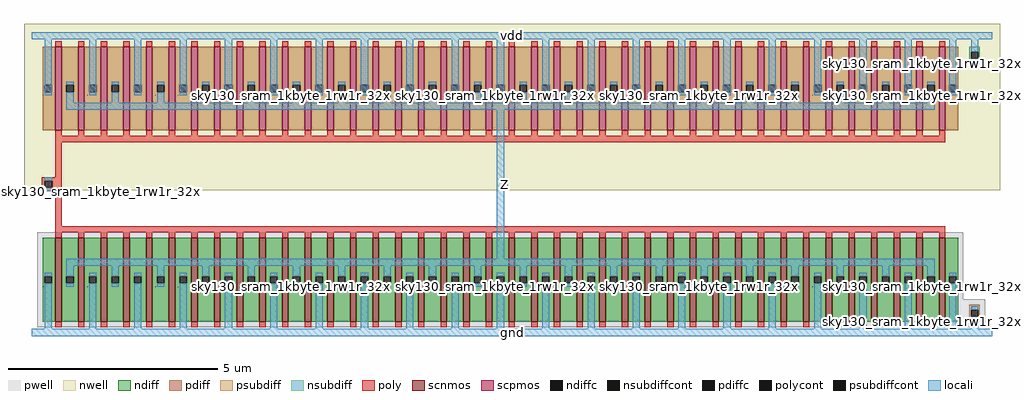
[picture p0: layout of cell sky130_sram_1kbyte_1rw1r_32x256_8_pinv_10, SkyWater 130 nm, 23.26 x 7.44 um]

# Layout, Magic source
magic
tech sky130A
magscale 1 2
<< nwell >>
rect -36 679 4616 1471
<< pwell >>
rect 4444 25 4546 159
<< psubdiff >>
rect 4470 109 4520 133
rect 4470 75 4478 109
rect 4512 75 4520 109
rect 4470 51 4520 75
<< nsubdiff >>
rect 4470 1339 4520 1363
rect 4470 1305 4478 1339
rect 4512 1305 4520 1339
rect 4470 1281 4520 1305
<< psubdiffcont >>
rect 4478 75 4512 109
<< nsubdiffcont >>
rect 4478 1305 4512 1339
<< poly >>
rect 114 740 144 907
rect 48 724 144 740
rect 48 690 64 724
rect 98 690 144 724
rect 48 674 144 690
rect 114 507 144 674
<< polycont >>
rect 64 690 98 724
<< locali >>
rect 0 1397 4580 1431
rect 62 1130 96 1397
rect 274 1130 308 1397
rect 490 1130 524 1397
rect 706 1130 740 1397
rect 922 1130 956 1397
rect 1138 1130 1172 1397
rect 1354 1130 1388 1397
rect 1570 1130 1604 1397
rect 1786 1130 1820 1397
rect 2002 1130 2036 1397
rect 2218 1130 2252 1397
rect 2434 1130 2468 1397
rect 2650 1130 2684 1397
rect 2866 1130 2900 1397
rect 3082 1130 3116 1397
rect 3298 1130 3332 1397
rect 3514 1130 3548 1397
rect 3730 1130 3764 1397
rect 3946 1130 3980 1397
rect 4162 1130 4196 1397
rect 4374 1130 4408 1397
rect 4478 1339 4512 1397
rect 4478 1289 4512 1305
rect 64 724 98 740
rect 64 674 98 690
rect 2218 724 2252 1096
rect 2218 690 2269 724
rect 2218 318 2252 690
rect 62 17 96 218
rect 274 17 308 218
rect 490 17 524 218
rect 706 17 740 218
rect 922 17 956 218
rect 1138 17 1172 218
rect 1354 17 1388 218
rect 1570 17 1604 218
rect 1786 17 1820 218
rect 2002 17 2036 218
rect 2218 17 2252 218
rect 2434 17 2468 218
rect 2650 17 2684 218
rect 2866 17 2900 218
rect 3082 17 3116 218
rect 3298 17 3332 218
rect 3514 17 3548 218
rect 3730 17 3764 218
rect 3946 17 3980 218
rect 4162 17 4196 218
rect 4374 17 4408 218
rect 4478 109 4512 125
rect 4478 17 4512 75
rect 0 -17 4580 17
use sky130_sram_1kbyte_1rw1r_32x256_8_contact_16  sky130_sram_1kbyte_1rw1r_32x256_8_contact_16_0
transform 1 0 48 0 1 674
box 0 0 1 1
use sky130_sram_1kbyte_1rw1r_32x256_8_contact_29  sky130_sram_1kbyte_1rw1r_32x256_8_contact_29_0
transform 1 0 4470 0 1 51
box 0 0 1 1
use sky130_sram_1kbyte_1rw1r_32x256_8_contact_28  sky130_sram_1kbyte_1rw1r_32x256_8_contact_28_0
transform 1 0 4470 0 1 1281
box 0 0 1 1
use sky130_sram_1kbyte_1rw1r_32x256_8_nmos_m40_w2_000_sli_dli_da_p  sky130_sram_1kbyte_1rw1r_32x256_8_nmos_m40_w2_000_sli_dli_da_p_0
transform 1 0 54 0 1 51
box -26 -26 4388 456
use sky130_sram_1kbyte_1rw1r_32x256_8_pmos_m40_w2_000_sli_dli_da_p  sky130_sram_1kbyte_1rw1r_32x256_8_pmos_m40_w2_000_sli_dli_da_p_0
transform 1 0 54 0 1 963
box -59 -56 4421 454
<< labels >>
rlabel locali s 81 707 81 707 4 A
port 1 nsew
rlabel locali s 2252 707 2252 707 4 Z
port 2 nsew
rlabel locali s 2290 0 2290 0 4 gnd
port 3 nsew
rlabel locali s 2290 1414 2290 1414 4 vdd
port 4 nsew
<< properties >>
string FIXED_BBOX 0 0 4580 1414
string GDS_FILE $PDKPATH/libs.ref/sky130_sram_macros/gds/sky130_sram_1kbyte_1rw1r_32x256_8.gds
string GDS_END 379994
string GDS_START 375564
<< end >>

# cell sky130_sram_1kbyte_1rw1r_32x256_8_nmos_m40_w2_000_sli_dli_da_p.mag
magic
tech sky130A
magscale 1 2
<< pwell >>
rect -26 -26 4388 426
<< scnmos >>
rect 60 0 90 400
rect 168 0 198 400
rect 276 0 306 400
rect 384 0 414 400
rect 492 0 522 400
rect 600 0 630 400
rect 708 0 738 400
rect 816 0 846 400
rect 924 0 954 400
rect 1032 0 1062 400
rect 1140 0 1170 400
rect 1248 0 1278 400
rect 1356 0 1386 400
rect 1464 0 1494 400
rect 1572 0 1602 400
rect 1680 0 1710 400
rect 1788 0 1818 400
rect 1896 0 1926 400
rect 2004 0 2034 400
rect 2112 0 2142 400
rect 2220 0 2250 400
rect 2328 0 2358 400
rect 2436 0 2466 400
rect 2544 0 2574 400
rect 2652 0 2682 400
rect 2760 0 2790 400
rect 2868 0 2898 400
rect 2976 0 3006 400
rect 3084 0 3114 400
rect 3192 0 3222 400
rect 3300 0 3330 400
rect 3408 0 3438 400
rect 3516 0 3546 400
rect 3624 0 3654 400
rect 3732 0 3762 400
rect 3840 0 3870 400
rect 3948 0 3978 400
rect 4056 0 4086 400
rect 4164 0 4194 400
rect 4272 0 4302 400
<< ndiff >>
rect 0 217 60 400
rect 0 183 8 217
rect 42 183 60 217
rect 0 0 60 183
rect 90 217 168 400
rect 90 183 112 217
rect 146 183 168 217
rect 90 0 168 183
rect 198 217 276 400
rect 198 183 220 217
rect 254 183 276 217
rect 198 0 276 183
rect 306 217 384 400
rect 306 183 328 217
rect 362 183 384 217
rect 306 0 384 183
rect 414 217 492 400
rect 414 183 436 217
rect 470 183 492 217
rect 414 0 492 183
rect 522 217 600 400
rect 522 183 544 217
rect 578 183 600 217
rect 522 0 600 183
rect 630 217 708 400
rect 630 183 652 217
rect 686 183 708 217
rect 630 0 708 183
rect 738 217 816 400
rect 738 183 760 217
rect 794 183 816 217
rect 738 0 816 183
rect 846 217 924 400
rect 846 183 868 217
rect 902 183 924 217
rect 846 0 924 183
rect 954 217 1032 400
rect 954 183 976 217
rect 1010 183 1032 217
rect 954 0 1032 183
rect 1062 217 1140 400
rect 1062 183 1084 217
rect 1118 183 1140 217
rect 1062 0 1140 183
rect 1170 217 1248 400
rect 1170 183 1192 217
rect 1226 183 1248 217
rect 1170 0 1248 183
rect 1278 217 1356 400
rect 1278 183 1300 217
rect 1334 183 1356 217
rect 1278 0 1356 183
rect 1386 217 1464 400
rect 1386 183 1408 217
rect 1442 183 1464 217
rect 1386 0 1464 183
rect 1494 217 1572 400
rect 1494 183 1516 217
rect 1550 183 1572 217
rect 1494 0 1572 183
rect 1602 217 1680 400
rect 1602 183 1624 217
rect 1658 183 1680 217
rect 1602 0 1680 183
rect 1710 217 1788 400
rect 1710 183 1732 217
rect 1766 183 1788 217
rect 1710 0 1788 183
rect 1818 217 1896 400
rect 1818 183 1840 217
rect 1874 183 1896 217
rect 1818 0 1896 183
rect 1926 217 2004 400
rect 1926 183 1948 217
rect 1982 183 2004 217
rect 1926 0 2004 183
rect 2034 217 2112 400
rect 2034 183 2056 217
rect 2090 183 2112 217
rect 2034 0 2112 183
rect 2142 217 2220 400
rect 2142 183 2164 217
rect 2198 183 2220 217
rect 2142 0 2220 183
rect 2250 217 2328 400
rect 2250 183 2272 217
rect 2306 183 2328 217
rect 2250 0 2328 183
rect 2358 217 2436 400
rect 2358 183 2380 217
rect 2414 183 2436 217
rect 2358 0 2436 183
rect 2466 217 2544 400
rect 2466 183 2488 217
rect 2522 183 2544 217
rect 2466 0 2544 183
rect 2574 217 2652 400
rect 2574 183 2596 217
rect 2630 183 2652 217
rect 2574 0 2652 183
rect 2682 217 2760 400
rect 2682 183 2704 217
rect 2738 183 2760 217
rect 2682 0 2760 183
rect 2790 217 2868 400
rect 2790 183 2812 217
rect 2846 183 2868 217
rect 2790 0 2868 183
rect 2898 217 2976 400
rect 2898 183 2920 217
rect 2954 183 2976 217
rect 2898 0 2976 183
rect 3006 217 3084 400
rect 3006 183 3028 217
rect 3062 183 3084 217
rect 3006 0 3084 183
rect 3114 217 3192 400
rect 3114 183 3136 217
rect 3170 183 3192 217
rect 3114 0 3192 183
rect 3222 217 3300 400
rect 3222 183 3244 217
rect 3278 183 3300 217
rect 3222 0 3300 183
rect 3330 217 3408 400
rect 3330 183 3352 217
rect 3386 183 3408 217
rect 3330 0 3408 183
rect 3438 217 3516 400
rect 3438 183 3460 217
rect 3494 183 3516 217
rect 3438 0 3516 183
rect 3546 217 3624 400
rect 3546 183 3568 217
rect 3602 183 3624 217
rect 3546 0 3624 183
rect 3654 217 3732 400
rect 3654 183 3676 217
rect 3710 183 3732 217
rect 3654 0 3732 183
rect 3762 217 3840 400
rect 3762 183 3784 217
rect 3818 183 3840 217
rect 3762 0 3840 183
rect 3870 217 3948 400
rect 3870 183 3892 217
rect 3926 183 3948 217
rect 3870 0 3948 183
rect 3978 217 4056 400
rect 3978 183 4000 217
rect 4034 183 4056 217
rect 3978 0 4056 183
rect 4086 217 4164 400
rect 4086 183 4108 217
rect 4142 183 4164 217
rect 4086 0 4164 183
rect 4194 217 4272 400
rect 4194 183 4216 217
rect 4250 183 4272 217
rect 4194 0 4272 183
rect 4302 217 4362 400
rect 4302 183 4320 217
rect 4354 183 4362 217
rect 4302 0 4362 183
<< ndiffc >>
rect 8 183 42 217
rect 112 183 146 217
rect 220 183 254 217
rect 328 183 362 217
rect 436 183 470 217
rect 544 183 578 217
rect 652 183 686 217
rect 760 183 794 217
rect 868 183 902 217
rect 976 183 1010 217
rect 1084 183 1118 217
rect 1192 183 1226 217
rect 1300 183 1334 217
rect 1408 183 1442 217
rect 1516 183 1550 217
rect 1624 183 1658 217
rect 1732 183 1766 217
rect 1840 183 1874 217
rect 1948 183 1982 217
rect 2056 183 2090 217
rect 2164 183 2198 217
rect 2272 183 2306 217
rect 2380 183 2414 217
rect 2488 183 2522 217
rect 2596 183 2630 217
rect 2704 183 2738 217
rect 2812 183 2846 217
rect 2920 183 2954 217
rect 3028 183 3062 217
rect 3136 183 3170 217
rect 3244 183 3278 217
rect 3352 183 3386 217
rect 3460 183 3494 217
rect 3568 183 3602 217
rect 3676 183 3710 217
rect 3784 183 3818 217
rect 3892 183 3926 217
rect 4000 183 4034 217
rect 4108 183 4142 217
rect 4216 183 4250 217
rect 4320 183 4354 217
<< poly >>
rect 60 426 4302 456
rect 60 400 90 426
rect 168 400 198 426
rect 276 400 306 426
rect 384 400 414 426
rect 492 400 522 426
rect 600 400 630 426
rect 708 400 738 426
rect 816 400 846 426
rect 924 400 954 426
rect 1032 400 1062 426
rect 1140 400 1170 426
rect 1248 400 1278 426
rect 1356 400 1386 426
rect 1464 400 1494 426
rect 1572 400 1602 426
rect 1680 400 1710 426
rect 1788 400 1818 426
rect 1896 400 1926 426
rect 2004 400 2034 426
rect 2112 400 2142 426
rect 2220 400 2250 426
rect 2328 400 2358 426
rect 2436 400 2466 426
rect 2544 400 2574 426
rect 2652 400 2682 426
rect 2760 400 2790 426
rect 2868 400 2898 426
rect 2976 400 3006 426
rect 3084 400 3114 426
rect 3192 400 3222 426
rect 3300 400 3330 426
rect 3408 400 3438 426
rect 3516 400 3546 426
rect 3624 400 3654 426
rect 3732 400 3762 426
rect 3840 400 3870 426
rect 3948 400 3978 426
rect 4056 400 4086 426
rect 4164 400 4194 426
rect 4272 400 4302 426
rect 60 -26 90 0
rect 168 -26 198 0
rect 276 -26 306 0
rect 384 -26 414 0
rect 492 -26 522 0
rect 600 -26 630 0
rect 708 -26 738 0
rect 816 -26 846 0
rect 924 -26 954 0
rect 1032 -26 1062 0
rect 1140 -26 1170 0
rect 1248 -26 1278 0
rect 1356 -26 1386 0
rect 1464 -26 1494 0
rect 1572 -26 1602 0
rect 1680 -26 1710 0
rect 1788 -26 1818 0
rect 1896 -26 1926 0
rect 2004 -26 2034 0
rect 2112 -26 2142 0
rect 2220 -26 2250 0
rect 2328 -26 2358 0
rect 2436 -26 2466 0
rect 2544 -26 2574 0
rect 2652 -26 2682 0
rect 2760 -26 2790 0
rect 2868 -26 2898 0
rect 2976 -26 3006 0
rect 3084 -26 3114 0
rect 3192 -26 3222 0
rect 3300 -26 3330 0
rect 3408 -26 3438 0
rect 3516 -26 3546 0
rect 3624 -26 3654 0
rect 3732 -26 3762 0
rect 3840 -26 3870 0
rect 3948 -26 3978 0
rect 4056 -26 4086 0
rect 4164 -26 4194 0
rect 4272 -26 4302 0
<< locali >>
rect 112 267 4250 301
rect 8 217 42 233
rect 8 167 42 183
rect 112 217 146 267
rect 112 167 146 183
rect 220 217 254 233
rect 220 167 254 183
rect 328 217 362 267
rect 328 167 362 183
rect 436 217 470 233
rect 436 167 470 183
rect 544 217 578 267
rect 544 167 578 183
rect 652 217 686 233
rect 652 167 686 183
rect 760 217 794 267
rect 760 167 794 183
rect 868 217 902 233
rect 868 167 902 183
rect 976 217 1010 267
rect 976 167 1010 183
rect 1084 217 1118 233
rect 1084 167 1118 183
rect 1192 217 1226 267
rect 1192 167 1226 183
rect 1300 217 1334 233
rect 1300 167 1334 183
rect 1408 217 1442 267
rect 1408 167 1442 183
rect 1516 217 1550 233
rect 1516 167 1550 183
rect 1624 217 1658 267
rect 1624 167 1658 183
rect 1732 217 1766 233
rect 1732 167 1766 183
rect 1840 217 1874 267
rect 1840 167 1874 183
rect 1948 217 1982 233
rect 1948 167 1982 183
rect 2056 217 2090 267
rect 2056 167 2090 183
rect 2164 217 2198 233
rect 2164 167 2198 183
rect 2272 217 2306 267
rect 2272 167 2306 183
rect 2380 217 2414 233
rect 2380 167 2414 183
rect 2488 217 2522 267
rect 2488 167 2522 183
rect 2596 217 2630 233
rect 2596 167 2630 183
rect 2704 217 2738 267
rect 2704 167 2738 183
rect 2812 217 2846 233
rect 2812 167 2846 183
rect 2920 217 2954 267
rect 2920 167 2954 183
rect 3028 217 3062 233
rect 3028 167 3062 183
rect 3136 217 3170 267
rect 3136 167 3170 183
rect 3244 217 3278 233
rect 3244 167 3278 183
rect 3352 217 3386 267
rect 3352 167 3386 183
rect 3460 217 3494 233
rect 3460 167 3494 183
rect 3568 217 3602 267
rect 3568 167 3602 183
rect 3676 217 3710 233
rect 3676 167 3710 183
rect 3784 217 3818 267
rect 3784 167 3818 183
rect 3892 217 3926 233
rect 3892 167 3926 183
rect 4000 217 4034 267
rect 4000 167 4034 183
rect 4108 217 4142 233
rect 4108 167 4142 183
rect 4216 217 4250 267
rect 4216 167 4250 183
rect 4320 217 4354 233
rect 4320 167 4354 183
use sky130_sram_1kbyte_1rw1r_32x256_8_contact_11  sky130_sram_1kbyte_1rw1r_32x256_8_contact_11_0
transform 1 0 4312 0 1 167
box 0 0 1 1
use sky130_sram_1kbyte_1rw1r_32x256_8_contact_11  sky130_sram_1kbyte_1rw1r_32x256_8_contact_11_1
transform 1 0 4208 0 1 167
box 0 0 1 1
use sky130_sram_1kbyte_1rw1r_32x256_8_contact_11  sky130_sram_1kbyte_1rw1r_32x256_8_contact_11_2
transform 1 0 4100 0 1 167
box 0 0 1 1
use sky130_sram_1kbyte_1rw1r_32x256_8_contact_11  sky130_sram_1kbyte_1rw1r_32x256_8_contact_11_3
transform 1 0 3992 0 1 167
box 0 0 1 1
use sky130_sram_1kbyte_1rw1r_32x256_8_contact_11  sky130_sram_1kbyte_1rw1r_32x256_8_contact_11_4
transform 1 0 3884 0 1 167
box 0 0 1 1
use sky130_sram_1kbyte_1rw1r_32x256_8_contact_11  sky130_sram_1kbyte_1rw1r_32x256_8_contact_11_5
transform 1 0 3776 0 1 167
box 0 0 1 1
use sky130_sram_1kbyte_1rw1r_32x256_8_contact_11  sky130_sram_1kbyte_1rw1r_32x256_8_contact_11_6
transform 1 0 3668 0 1 167
box 0 0 1 1
use sky130_sram_1kbyte_1rw1r_32x256_8_contact_11  sky130_sram_1kbyte_1rw1r_32x256_8_contact_11_7
transform 1 0 3560 0 1 167
box 0 0 1 1
use sky130_sram_1kbyte_1rw1r_32x256_8_contact_11  sky130_sram_1kbyte_1rw1r_32x256_8_contact_11_8
transform 1 0 3452 0 1 167
box 0 0 1 1
use sky130_sram_1kbyte_1rw1r_32x256_8_contact_11  sky130_sram_1kbyte_1rw1r_32x256_8_contact_11_9
transform 1 0 3344 0 1 167
box 0 0 1 1
use sky130_sram_1kbyte_1rw1r_32x256_8_contact_11  sky130_sram_1kbyte_1rw1r_32x256_8_contact_11_10
transform 1 0 3236 0 1 167
box 0 0 1 1
use sky130_sram_1kbyte_1rw1r_32x256_8_contact_11  sky130_sram_1kbyte_1rw1r_32x256_8_contact_11_11
transform 1 0 3128 0 1 167
box 0 0 1 1
use sky130_sram_1kbyte_1rw1r_32x256_8_contact_11  sky130_sram_1kbyte_1rw1r_32x256_8_contact_11_12
transform 1 0 3020 0 1 167
box 0 0 1 1
use sky130_sram_1kbyte_1rw1r_32x256_8_contact_11  sky130_sram_1kbyte_1rw1r_32x256_8_contact_11_13
transform 1 0 2912 0 1 167
box 0 0 1 1
use sky130_sram_1kbyte_1rw1r_32x256_8_contact_11  sky130_sram_1kbyte_1rw1r_32x256_8_contact_11_14
transform 1 0 2804 0 1 167
box 0 0 1 1
use sky130_sram_1kbyte_1rw1r_32x256_8_contact_11  sky130_sram_1kbyte_1rw1r_32x256_8_contact_11_15
transform 1 0 2696 0 1 167
box 0 0 1 1
use sky130_sram_1kbyte_1rw1r_32x256_8_contact_11  sky130_sram_1kbyte_1rw1r_32x256_8_contact_11_16
transform 1 0 2588 0 1 167
box 0 0 1 1
use sky130_sram_1kbyte_1rw1r_32x256_8_contact_11  sky130_sram_1kbyte_1rw1r_32x256_8_contact_11_17
transform 1 0 2480 0 1 167
box 0 0 1 1
use sky130_sram_1kbyte_1rw1r_32x256_8_contact_11  sky130_sram_1kbyte_1rw1r_32x256_8_contact_11_18
transform 1 0 2372 0 1 167
box 0 0 1 1
use sky130_sram_1kbyte_1rw1r_32x256_8_contact_11  sky130_sram_1kbyte_1rw1r_32x256_8_contact_11_19
transform 1 0 2264 0 1 167
box 0 0 1 1
use sky130_sram_1kbyte_1rw1r_32x256_8_contact_11  sky130_sram_1kbyte_1rw1r_32x256_8_contact_11_20
transform 1 0 2156 0 1 167
box 0 0 1 1
use sky130_sram_1kbyte_1rw1r_32x256_8_contact_11  sky130_sram_1kbyte_1rw1r_32x256_8_contact_11_21
transform 1 0 2048 0 1 167
box 0 0 1 1
use sky130_sram_1kbyte_1rw1r_32x256_8_contact_11  sky130_sram_1kbyte_1rw1r_32x256_8_contact_11_22
transform 1 0 1940 0 1 167
box 0 0 1 1
use sky130_sram_1kbyte_1rw1r_32x256_8_contact_11  sky130_sram_1kbyte_1rw1r_32x256_8_contact_11_23
transform 1 0 1832 0 1 167
box 0 0 1 1
use sky130_sram_1kbyte_1rw1r_32x256_8_contact_11  sky130_sram_1kbyte_1rw1r_32x256_8_contact_11_24
transform 1 0 1724 0 1 167
box 0 0 1 1
use sky130_sram_1kbyte_1rw1r_32x256_8_contact_11  sky130_sram_1kbyte_1rw1r_32x256_8_contact_11_25
transform 1 0 1616 0 1 167
box 0 0 1 1
use sky130_sram_1kbyte_1rw1r_32x256_8_contact_11  sky130_sram_1kbyte_1rw1r_32x256_8_contact_11_26
transform 1 0 1508 0 1 167
box 0 0 1 1
use sky130_sram_1kbyte_1rw1r_32x256_8_contact_11  sky130_sram_1kbyte_1rw1r_32x256_8_contact_11_27
transform 1 0 1400 0 1 167
box 0 0 1 1
use sky130_sram_1kbyte_1rw1r_32x256_8_contact_11  sky130_sram_1kbyte_1rw1r_32x256_8_contact_11_28
transform 1 0 1292 0 1 167
box 0 0 1 1
use sky130_sram_1kbyte_1rw1r_32x256_8_contact_11  sky130_sram_1kbyte_1rw1r_32x256_8_contact_11_29
transform 1 0 1184 0 1 167
box 0 0 1 1
use sky130_sram_1kbyte_1rw1r_32x256_8_contact_11  sky130_sram_1kbyte_1rw1r_32x256_8_contact_11_30
transform 1 0 1076 0 1 167
box 0 0 1 1
use sky130_sram_1kbyte_1rw1r_32x256_8_contact_11  sky130_sram_1kbyte_1rw1r_32x256_8_contact_11_31
transform 1 0 968 0 1 167
box 0 0 1 1
use sky130_sram_1kbyte_1rw1r_32x256_8_contact_11  sky130_sram_1kbyte_1rw1r_32x256_8_contact_11_32
transform 1 0 860 0 1 167
box 0 0 1 1
use sky130_sram_1kbyte_1rw1r_32x256_8_contact_11  sky130_sram_1kbyte_1rw1r_32x256_8_contact_11_33
transform 1 0 752 0 1 167
box 0 0 1 1
use sky130_sram_1kbyte_1rw1r_32x256_8_contact_11  sky130_sram_1kbyte_1rw1r_32x256_8_contact_11_34
transform 1 0 644 0 1 167
box 0 0 1 1
use sky130_sram_1kbyte_1rw1r_32x256_8_contact_11  sky130_sram_1kbyte_1rw1r_32x256_8_contact_11_35
transform 1 0 536 0 1 167
box 0 0 1 1
use sky130_sram_1kbyte_1rw1r_32x256_8_contact_11  sky130_sram_1kbyte_1rw1r_32x256_8_contact_11_36
transform 1 0 428 0 1 167
box 0 0 1 1
use sky130_sram_1kbyte_1rw1r_32x256_8_contact_11  sky130_sram_1kbyte_1rw1r_32x256_8_contact_11_37
transform 1 0 320 0 1 167
box 0 0 1 1
use sky130_sram_1kbyte_1rw1r_32x256_8_contact_11  sky130_sram_1kbyte_1rw1r_32x256_8_contact_11_38
transform 1 0 212 0 1 167
box 0 0 1 1
use sky130_sram_1kbyte_1rw1r_32x256_8_contact_11  sky130_sram_1kbyte_1rw1r_32x256_8_contact_11_39
transform 1 0 104 0 1 167
box 0 0 1 1
use sky130_sram_1kbyte_1rw1r_32x256_8_contact_11  sky130_sram_1kbyte_1rw1r_32x256_8_contact_11_40
transform 1 0 0 0 1 167
box 0 0 1 1
<< labels >>
rlabel locali s 1533 200 1533 200 4 S
port 1 nsew
rlabel locali s 1317 200 1317 200 4 S
port 1 nsew
rlabel locali s 2181 200 2181 200 4 S
port 1 nsew
rlabel locali s 453 200 453 200 4 S
port 1 nsew
rlabel locali s 2397 200 2397 200 4 S
port 1 nsew
rlabel locali s 4337 200 4337 200 4 S
port 1 nsew
rlabel locali s 3909 200 3909 200 4 S
port 1 nsew
rlabel locali s 25 200 25 200 4 S
port 1 nsew
rlabel locali s 885 200 885 200 4 S
port 1 nsew
rlabel locali s 2613 200 2613 200 4 S
port 1 nsew
rlabel locali s 237 200 237 200 4 S
port 1 nsew
rlabel locali s 1101 200 1101 200 4 S
port 1 nsew
rlabel locali s 3045 200 3045 200 4 S
port 1 nsew
rlabel locali s 1749 200 1749 200 4 S
port 1 nsew
rlabel locali s 4125 200 4125 200 4 S
port 1 nsew
rlabel locali s 3261 200 3261 200 4 S
port 1 nsew
rlabel locali s 2829 200 2829 200 4 S
port 1 nsew
rlabel locali s 3477 200 3477 200 4 S
port 1 nsew
rlabel locali s 1965 200 1965 200 4 S
port 1 nsew
rlabel locali s 3693 200 3693 200 4 S
port 1 nsew
rlabel locali s 669 200 669 200 4 S
port 1 nsew
rlabel locali s 2181 284 2181 284 4 D
port 2 nsew
rlabel poly s 2181 441 2181 441 4 G
port 3 nsew
<< properties >>
string FIXED_BBOX -25 -26 4387 456
string GDS_FILE $PDKPATH/libs.ref/sky130_sram_macros/gds/sky130_sram_1kbyte_1rw1r_32x256_8.gds
string GDS_END 137060
string GDS_START 127442
<< end >>

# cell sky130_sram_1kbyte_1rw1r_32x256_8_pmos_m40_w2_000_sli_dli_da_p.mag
magic
tech sky130A
magscale 1 2
<< nwell >>
rect -54 284 4416 454
rect -59 116 4421 284
rect -54 -54 4416 116
<< scpmos >>
rect 60 0 90 400
rect 168 0 198 400
rect 276 0 306 400
rect 384 0 414 400
rect 492 0 522 400
rect 600 0 630 400
rect 708 0 738 400
rect 816 0 846 400
rect 924 0 954 400
rect 1032 0 1062 400
rect 1140 0 1170 400
rect 1248 0 1278 400
rect 1356 0 1386 400
rect 1464 0 1494 400
rect 1572 0 1602 400
rect 1680 0 1710 400
rect 1788 0 1818 400
rect 1896 0 1926 400
rect 2004 0 2034 400
rect 2112 0 2142 400
rect 2220 0 2250 400
rect 2328 0 2358 400
rect 2436 0 2466 400
rect 2544 0 2574 400
rect 2652 0 2682 400
rect 2760 0 2790 400
rect 2868 0 2898 400
rect 2976 0 3006 400
rect 3084 0 3114 400
rect 3192 0 3222 400
rect 3300 0 3330 400
rect 3408 0 3438 400
rect 3516 0 3546 400
rect 3624 0 3654 400
rect 3732 0 3762 400
rect 3840 0 3870 400
rect 3948 0 3978 400
rect 4056 0 4086 400
rect 4164 0 4194 400
rect 4272 0 4302 400
<< pdiff >>
rect 0 217 60 400
rect 0 183 8 217
rect 42 183 60 217
rect 0 0 60 183
rect 90 217 168 400
rect 90 183 112 217
rect 146 183 168 217
rect 90 0 168 183
rect 198 217 276 400
rect 198 183 220 217
rect 254 183 276 217
rect 198 0 276 183
rect 306 217 384 400
rect 306 183 328 217
rect 362 183 384 217
rect 306 0 384 183
rect 414 217 492 400
rect 414 183 436 217
rect 470 183 492 217
rect 414 0 492 183
rect 522 217 600 400
rect 522 183 544 217
rect 578 183 600 217
rect 522 0 600 183
rect 630 217 708 400
rect 630 183 652 217
rect 686 183 708 217
rect 630 0 708 183
rect 738 217 816 400
rect 738 183 760 217
rect 794 183 816 217
rect 738 0 816 183
rect 846 217 924 400
rect 846 183 868 217
rect 902 183 924 217
rect 846 0 924 183
rect 954 217 1032 400
rect 954 183 976 217
rect 1010 183 1032 217
rect 954 0 1032 183
rect 1062 217 1140 400
rect 1062 183 1084 217
rect 1118 183 1140 217
rect 1062 0 1140 183
rect 1170 217 1248 400
rect 1170 183 1192 217
rect 1226 183 1248 217
rect 1170 0 1248 183
rect 1278 217 1356 400
rect 1278 183 1300 217
rect 1334 183 1356 217
rect 1278 0 1356 183
rect 1386 217 1464 400
rect 1386 183 1408 217
rect 1442 183 1464 217
rect 1386 0 1464 183
rect 1494 217 1572 400
rect 1494 183 1516 217
rect 1550 183 1572 217
rect 1494 0 1572 183
rect 1602 217 1680 400
rect 1602 183 1624 217
rect 1658 183 1680 217
rect 1602 0 1680 183
rect 1710 217 1788 400
rect 1710 183 1732 217
rect 1766 183 1788 217
rect 1710 0 1788 183
rect 1818 217 1896 400
rect 1818 183 1840 217
rect 1874 183 1896 217
rect 1818 0 1896 183
rect 1926 217 2004 400
rect 1926 183 1948 217
rect 1982 183 2004 217
rect 1926 0 2004 183
rect 2034 217 2112 400
rect 2034 183 2056 217
rect 2090 183 2112 217
rect 2034 0 2112 183
rect 2142 217 2220 400
rect 2142 183 2164 217
rect 2198 183 2220 217
rect 2142 0 2220 183
rect 2250 217 2328 400
rect 2250 183 2272 217
rect 2306 183 2328 217
rect 2250 0 2328 183
rect 2358 217 2436 400
rect 2358 183 2380 217
rect 2414 183 2436 217
rect 2358 0 2436 183
rect 2466 217 2544 400
rect 2466 183 2488 217
rect 2522 183 2544 217
rect 2466 0 2544 183
rect 2574 217 2652 400
rect 2574 183 2596 217
rect 2630 183 2652 217
rect 2574 0 2652 183
rect 2682 217 2760 400
rect 2682 183 2704 217
rect 2738 183 2760 217
rect 2682 0 2760 183
rect 2790 217 2868 400
rect 2790 183 2812 217
rect 2846 183 2868 217
rect 2790 0 2868 183
rect 2898 217 2976 400
rect 2898 183 2920 217
rect 2954 183 2976 217
rect 2898 0 2976 183
rect 3006 217 3084 400
rect 3006 183 3028 217
rect 3062 183 3084 217
rect 3006 0 3084 183
rect 3114 217 3192 400
rect 3114 183 3136 217
rect 3170 183 3192 217
rect 3114 0 3192 183
rect 3222 217 3300 400
rect 3222 183 3244 217
rect 3278 183 3300 217
rect 3222 0 3300 183
rect 3330 217 3408 400
rect 3330 183 3352 217
rect 3386 183 3408 217
rect 3330 0 3408 183
rect 3438 217 3516 400
rect 3438 183 3460 217
rect 3494 183 3516 217
rect 3438 0 3516 183
rect 3546 217 3624 400
rect 3546 183 3568 217
rect 3602 183 3624 217
rect 3546 0 3624 183
rect 3654 217 3732 400
rect 3654 183 3676 217
rect 3710 183 3732 217
rect 3654 0 3732 183
rect 3762 217 3840 400
rect 3762 183 3784 217
rect 3818 183 3840 217
rect 3762 0 3840 183
rect 3870 217 3948 400
rect 3870 183 3892 217
rect 3926 183 3948 217
rect 3870 0 3948 183
rect 3978 217 4056 400
rect 3978 183 4000 217
rect 4034 183 4056 217
rect 3978 0 4056 183
rect 4086 217 4164 400
rect 4086 183 4108 217
rect 4142 183 4164 217
rect 4086 0 4164 183
rect 4194 217 4272 400
rect 4194 183 4216 217
rect 4250 183 4272 217
rect 4194 0 4272 183
rect 4302 217 4362 400
rect 4302 183 4320 217
rect 4354 183 4362 217
rect 4302 0 4362 183
<< pdiffc >>
rect 8 183 42 217
rect 112 183 146 217
rect 220 183 254 217
rect 328 183 362 217
rect 436 183 470 217
rect 544 183 578 217
rect 652 183 686 217
rect 760 183 794 217
rect 868 183 902 217
rect 976 183 1010 217
rect 1084 183 1118 217
rect 1192 183 1226 217
rect 1300 183 1334 217
rect 1408 183 1442 217
rect 1516 183 1550 217
rect 1624 183 1658 217
rect 1732 183 1766 217
rect 1840 183 1874 217
rect 1948 183 1982 217
rect 2056 183 2090 217
rect 2164 183 2198 217
rect 2272 183 2306 217
rect 2380 183 2414 217
rect 2488 183 2522 217
rect 2596 183 2630 217
rect 2704 183 2738 217
rect 2812 183 2846 217
rect 2920 183 2954 217
rect 3028 183 3062 217
rect 3136 183 3170 217
rect 3244 183 3278 217
rect 3352 183 3386 217
rect 3460 183 3494 217
rect 3568 183 3602 217
rect 3676 183 3710 217
rect 3784 183 3818 217
rect 3892 183 3926 217
rect 4000 183 4034 217
rect 4108 183 4142 217
rect 4216 183 4250 217
rect 4320 183 4354 217
<< poly >>
rect 60 400 90 426
rect 168 400 198 426
rect 276 400 306 426
rect 384 400 414 426
rect 492 400 522 426
rect 600 400 630 426
rect 708 400 738 426
rect 816 400 846 426
rect 924 400 954 426
rect 1032 400 1062 426
rect 1140 400 1170 426
rect 1248 400 1278 426
rect 1356 400 1386 426
rect 1464 400 1494 426
rect 1572 400 1602 426
rect 1680 400 1710 426
rect 1788 400 1818 426
rect 1896 400 1926 426
rect 2004 400 2034 426
rect 2112 400 2142 426
rect 2220 400 2250 426
rect 2328 400 2358 426
rect 2436 400 2466 426
rect 2544 400 2574 426
rect 2652 400 2682 426
rect 2760 400 2790 426
rect 2868 400 2898 426
rect 2976 400 3006 426
rect 3084 400 3114 426
rect 3192 400 3222 426
rect 3300 400 3330 426
rect 3408 400 3438 426
rect 3516 400 3546 426
rect 3624 400 3654 426
rect 3732 400 3762 426
rect 3840 400 3870 426
rect 3948 400 3978 426
rect 4056 400 4086 426
rect 4164 400 4194 426
rect 4272 400 4302 426
rect 60 -26 90 0
rect 168 -26 198 0
rect 276 -26 306 0
rect 384 -26 414 0
rect 492 -26 522 0
rect 600 -26 630 0
rect 708 -26 738 0
rect 816 -26 846 0
rect 924 -26 954 0
rect 1032 -26 1062 0
rect 1140 -26 1170 0
rect 1248 -26 1278 0
rect 1356 -26 1386 0
rect 1464 -26 1494 0
rect 1572 -26 1602 0
rect 1680 -26 1710 0
rect 1788 -26 1818 0
rect 1896 -26 1926 0
rect 2004 -26 2034 0
rect 2112 -26 2142 0
rect 2220 -26 2250 0
rect 2328 -26 2358 0
rect 2436 -26 2466 0
rect 2544 -26 2574 0
rect 2652 -26 2682 0
rect 2760 -26 2790 0
rect 2868 -26 2898 0
rect 2976 -26 3006 0
rect 3084 -26 3114 0
rect 3192 -26 3222 0
rect 3300 -26 3330 0
rect 3408 -26 3438 0
rect 3516 -26 3546 0
rect 3624 -26 3654 0
rect 3732 -26 3762 0
rect 3840 -26 3870 0
rect 3948 -26 3978 0
rect 4056 -26 4086 0
rect 4164 -26 4194 0
rect 4272 -26 4302 0
rect 60 -56 4302 -26
<< locali >>
rect 8 217 42 233
rect 8 167 42 183
rect 112 217 146 233
rect 112 133 146 183
rect 220 217 254 233
rect 220 167 254 183
rect 328 217 362 233
rect 328 133 362 183
rect 436 217 470 233
rect 436 167 470 183
rect 544 217 578 233
rect 544 133 578 183
rect 652 217 686 233
rect 652 167 686 183
rect 760 217 794 233
rect 760 133 794 183
rect 868 217 902 233
rect 868 167 902 183
rect 976 217 1010 233
rect 976 133 1010 183
rect 1084 217 1118 233
rect 1084 167 1118 183
rect 1192 217 1226 233
rect 1192 133 1226 183
rect 1300 217 1334 233
rect 1300 167 1334 183
rect 1408 217 1442 233
rect 1408 133 1442 183
rect 1516 217 1550 233
rect 1516 167 1550 183
rect 1624 217 1658 233
rect 1624 133 1658 183
rect 1732 217 1766 233
rect 1732 167 1766 183
rect 1840 217 1874 233
rect 1840 133 1874 183
rect 1948 217 1982 233
rect 1948 167 1982 183
rect 2056 217 2090 233
rect 2056 133 2090 183
rect 2164 217 2198 233
rect 2164 167 2198 183
rect 2272 217 2306 233
rect 2272 133 2306 183
rect 2380 217 2414 233
rect 2380 167 2414 183
rect 2488 217 2522 233
rect 2488 133 2522 183
rect 2596 217 2630 233
rect 2596 167 2630 183
rect 2704 217 2738 233
rect 2704 133 2738 183
rect 2812 217 2846 233
rect 2812 167 2846 183
rect 2920 217 2954 233
rect 2920 133 2954 183
rect 3028 217 3062 233
rect 3028 167 3062 183
rect 3136 217 3170 233
rect 3136 133 3170 183
rect 3244 217 3278 233
rect 3244 167 3278 183
rect 3352 217 3386 233
rect 3352 133 3386 183
rect 3460 217 3494 233
rect 3460 167 3494 183
rect 3568 217 3602 233
rect 3568 133 3602 183
rect 3676 217 3710 233
rect 3676 167 3710 183
rect 3784 217 3818 233
rect 3784 133 3818 183
rect 3892 217 3926 233
rect 3892 167 3926 183
rect 4000 217 4034 233
rect 4000 133 4034 183
rect 4108 217 4142 233
rect 4108 167 4142 183
rect 4216 217 4250 233
rect 4216 133 4250 183
rect 4320 217 4354 233
rect 4320 167 4354 183
rect 112 99 4250 133
use sky130_sram_1kbyte_1rw1r_32x256_8_contact_12  sky130_sram_1kbyte_1rw1r_32x256_8_contact_12_0
transform 1 0 4312 0 1 167
box 0 0 1 1
use sky130_sram_1kbyte_1rw1r_32x256_8_contact_12  sky130_sram_1kbyte_1rw1r_32x256_8_contact_12_1
transform 1 0 4208 0 1 167
box 0 0 1 1
use sky130_sram_1kbyte_1rw1r_32x256_8_contact_12  sky130_sram_1kbyte_1rw1r_32x256_8_contact_12_2
transform 1 0 4100 0 1 167
box 0 0 1 1
use sky130_sram_1kbyte_1rw1r_32x256_8_contact_12  sky130_sram_1kbyte_1rw1r_32x256_8_contact_12_3
transform 1 0 3992 0 1 167
box 0 0 1 1
use sky130_sram_1kbyte_1rw1r_32x256_8_contact_12  sky130_sram_1kbyte_1rw1r_32x256_8_contact_12_4
transform 1 0 3884 0 1 167
box 0 0 1 1
use sky130_sram_1kbyte_1rw1r_32x256_8_contact_12  sky130_sram_1kbyte_1rw1r_32x256_8_contact_12_5
transform 1 0 3776 0 1 167
box 0 0 1 1
use sky130_sram_1kbyte_1rw1r_32x256_8_contact_12  sky130_sram_1kbyte_1rw1r_32x256_8_contact_12_6
transform 1 0 3668 0 1 167
box 0 0 1 1
use sky130_sram_1kbyte_1rw1r_32x256_8_contact_12  sky130_sram_1kbyte_1rw1r_32x256_8_contact_12_7
transform 1 0 3560 0 1 167
box 0 0 1 1
use sky130_sram_1kbyte_1rw1r_32x256_8_contact_12  sky130_sram_1kbyte_1rw1r_32x256_8_contact_12_8
transform 1 0 3452 0 1 167
box 0 0 1 1
use sky130_sram_1kbyte_1rw1r_32x256_8_contact_12  sky130_sram_1kbyte_1rw1r_32x256_8_contact_12_9
transform 1 0 3344 0 1 167
box 0 0 1 1
use sky130_sram_1kbyte_1rw1r_32x256_8_contact_12  sky130_sram_1kbyte_1rw1r_32x256_8_contact_12_10
transform 1 0 3236 0 1 167
box 0 0 1 1
use sky130_sram_1kbyte_1rw1r_32x256_8_contact_12  sky130_sram_1kbyte_1rw1r_32x256_8_contact_12_11
transform 1 0 3128 0 1 167
box 0 0 1 1
use sky130_sram_1kbyte_1rw1r_32x256_8_contact_12  sky130_sram_1kbyte_1rw1r_32x256_8_contact_12_12
transform 1 0 3020 0 1 167
box 0 0 1 1
use sky130_sram_1kbyte_1rw1r_32x256_8_contact_12  sky130_sram_1kbyte_1rw1r_32x256_8_contact_12_13
transform 1 0 2912 0 1 167
box 0 0 1 1
use sky130_sram_1kbyte_1rw1r_32x256_8_contact_12  sky130_sram_1kbyte_1rw1r_32x256_8_contact_12_14
transform 1 0 2804 0 1 167
box 0 0 1 1
use sky130_sram_1kbyte_1rw1r_32x256_8_contact_12  sky130_sram_1kbyte_1rw1r_32x256_8_contact_12_15
transform 1 0 2696 0 1 167
box 0 0 1 1
use sky130_sram_1kbyte_1rw1r_32x256_8_contact_12  sky130_sram_1kbyte_1rw1r_32x256_8_contact_12_16
transform 1 0 2588 0 1 167
box 0 0 1 1
use sky130_sram_1kbyte_1rw1r_32x256_8_contact_12  sky130_sram_1kbyte_1rw1r_32x256_8_contact_12_17
transform 1 0 2480 0 1 167
box 0 0 1 1
use sky130_sram_1kbyte_1rw1r_32x256_8_contact_12  sky130_sram_1kbyte_1rw1r_32x256_8_contact_12_18
transform 1 0 2372 0 1 167
box 0 0 1 1
use sky130_sram_1kbyte_1rw1r_32x256_8_contact_12  sky130_sram_1kbyte_1rw1r_32x256_8_contact_12_19
transform 1 0 2264 0 1 167
box 0 0 1 1
use sky130_sram_1kbyte_1rw1r_32x256_8_contact_12  sky130_sram_1kbyte_1rw1r_32x256_8_contact_12_20
transform 1 0 2156 0 1 167
box 0 0 1 1
use sky130_sram_1kbyte_1rw1r_32x256_8_contact_12  sky130_sram_1kbyte_1rw1r_32x256_8_contact_12_21
transform 1 0 2048 0 1 167
box 0 0 1 1
use sky130_sram_1kbyte_1rw1r_32x256_8_contact_12  sky130_sram_1kbyte_1rw1r_32x256_8_contact_12_22
transform 1 0 1940 0 1 167
box 0 0 1 1
use sky130_sram_1kbyte_1rw1r_32x256_8_contact_12  sky130_sram_1kbyte_1rw1r_32x256_8_contact_12_23
transform 1 0 1832 0 1 167
box 0 0 1 1
use sky130_sram_1kbyte_1rw1r_32x256_8_contact_12  sky130_sram_1kbyte_1rw1r_32x256_8_contact_12_24
transform 1 0 1724 0 1 167
box 0 0 1 1
use sky130_sram_1kbyte_1rw1r_32x256_8_contact_12  sky130_sram_1kbyte_1rw1r_32x256_8_contact_12_25
transform 1 0 1616 0 1 167
box 0 0 1 1
use sky130_sram_1kbyte_1rw1r_32x256_8_contact_12  sky130_sram_1kbyte_1rw1r_32x256_8_contact_12_26
transform 1 0 1508 0 1 167
box 0 0 1 1
use sky130_sram_1kbyte_1rw1r_32x256_8_contact_12  sky130_sram_1kbyte_1rw1r_32x256_8_contact_12_27
transform 1 0 1400 0 1 167
box 0 0 1 1
use sky130_sram_1kbyte_1rw1r_32x256_8_contact_12  sky130_sram_1kbyte_1rw1r_32x256_8_contact_12_28
transform 1 0 1292 0 1 167
box 0 0 1 1
use sky130_sram_1kbyte_1rw1r_32x256_8_contact_12  sky130_sram_1kbyte_1rw1r_32x256_8_contact_12_29
transform 1 0 1184 0 1 167
box 0 0 1 1
use sky130_sram_1kbyte_1rw1r_32x256_8_contact_12  sky130_sram_1kbyte_1rw1r_32x256_8_contact_12_30
transform 1 0 1076 0 1 167
box 0 0 1 1
use sky130_sram_1kbyte_1rw1r_32x256_8_contact_12  sky130_sram_1kbyte_1rw1r_32x256_8_contact_12_31
transform 1 0 968 0 1 167
box 0 0 1 1
use sky130_sram_1kbyte_1rw1r_32x256_8_contact_12  sky130_sram_1kbyte_1rw1r_32x256_8_contact_12_32
transform 1 0 860 0 1 167
box 0 0 1 1
use sky130_sram_1kbyte_1rw1r_32x256_8_contact_12  sky130_sram_1kbyte_1rw1r_32x256_8_contact_12_33
transform 1 0 752 0 1 167
box 0 0 1 1
use sky130_sram_1kbyte_1rw1r_32x256_8_contact_12  sky130_sram_1kbyte_1rw1r_32x256_8_contact_12_34
transform 1 0 644 0 1 167
box 0 0 1 1
use sky130_sram_1kbyte_1rw1r_32x256_8_contact_12  sky130_sram_1kbyte_1rw1r_32x256_8_contact_12_35
transform 1 0 536 0 1 167
box 0 0 1 1
use sky130_sram_1kbyte_1rw1r_32x256_8_contact_12  sky130_sram_1kbyte_1rw1r_32x256_8_contact_12_36
transform 1 0 428 0 1 167
box 0 0 1 1
use sky130_sram_1kbyte_1rw1r_32x256_8_contact_12  sky130_sram_1kbyte_1rw1r_32x256_8_contact_12_37
transform 1 0 320 0 1 167
box 0 0 1 1
use sky130_sram_1kbyte_1rw1r_32x256_8_contact_12  sky130_sram_1kbyte_1rw1r_32x256_8_contact_12_38
transform 1 0 212 0 1 167
box 0 0 1 1
use sky130_sram_1kbyte_1rw1r_32x256_8_contact_12  sky130_sram_1kbyte_1rw1r_32x256_8_contact_12_39
transform 1 0 104 0 1 167
box 0 0 1 1
use sky130_sram_1kbyte_1rw1r_32x256_8_contact_12  sky130_sram_1kbyte_1rw1r_32x256_8_contact_12_40
transform 1 0 0 0 1 167
box 0 0 1 1
<< labels >>
rlabel locali s 1533 200 1533 200 4 S
port 1 nsew
rlabel locali s 1317 200 1317 200 4 S
port 1 nsew
rlabel locali s 2181 200 2181 200 4 S
port 1 nsew
rlabel locali s 453 200 453 200 4 S
port 1 nsew
rlabel locali s 2397 200 2397 200 4 S
port 1 nsew
rlabel locali s 4337 200 4337 200 4 S
port 1 nsew
rlabel locali s 3909 200 3909 200 4 S
port 1 nsew
rlabel locali s 25 200 25 200 4 S
port 1 nsew
rlabel locali s 885 200 885 200 4 S
port 1 nsew
rlabel locali s 2613 200 2613 200 4 S
port 1 nsew
rlabel locali s 237 200 237 200 4 S
port 1 nsew
rlabel locali s 1101 200 1101 200 4 S
port 1 nsew
rlabel locali s 3045 200 3045 200 4 S
port 1 nsew
rlabel locali s 1749 200 1749 200 4 S
port 1 nsew
rlabel locali s 4125 200 4125 200 4 S
port 1 nsew
rlabel locali s 3261 200 3261 200 4 S
port 1 nsew
rlabel locali s 2829 200 2829 200 4 S
port 1 nsew
rlabel locali s 3477 200 3477 200 4 S
port 1 nsew
rlabel locali s 1965 200 1965 200 4 S
port 1 nsew
rlabel locali s 3693 200 3693 200 4 S
port 1 nsew
rlabel locali s 669 200 669 200 4 S
port 1 nsew
rlabel locali s 2181 116 2181 116 4 D
port 2 nsew
rlabel poly s 2181 -41 2181 -41 4 G
port 3 nsew
<< properties >>
string FIXED_BBOX -54 -56 4416 116
string GDS_FILE $PDKPATH/libs.ref/sky130_sram_macros/gds/sky130_sram_1kbyte_1rw1r_32x256_8.gds
string GDS_END 146836
string GDS_START 137154
<< end >>
